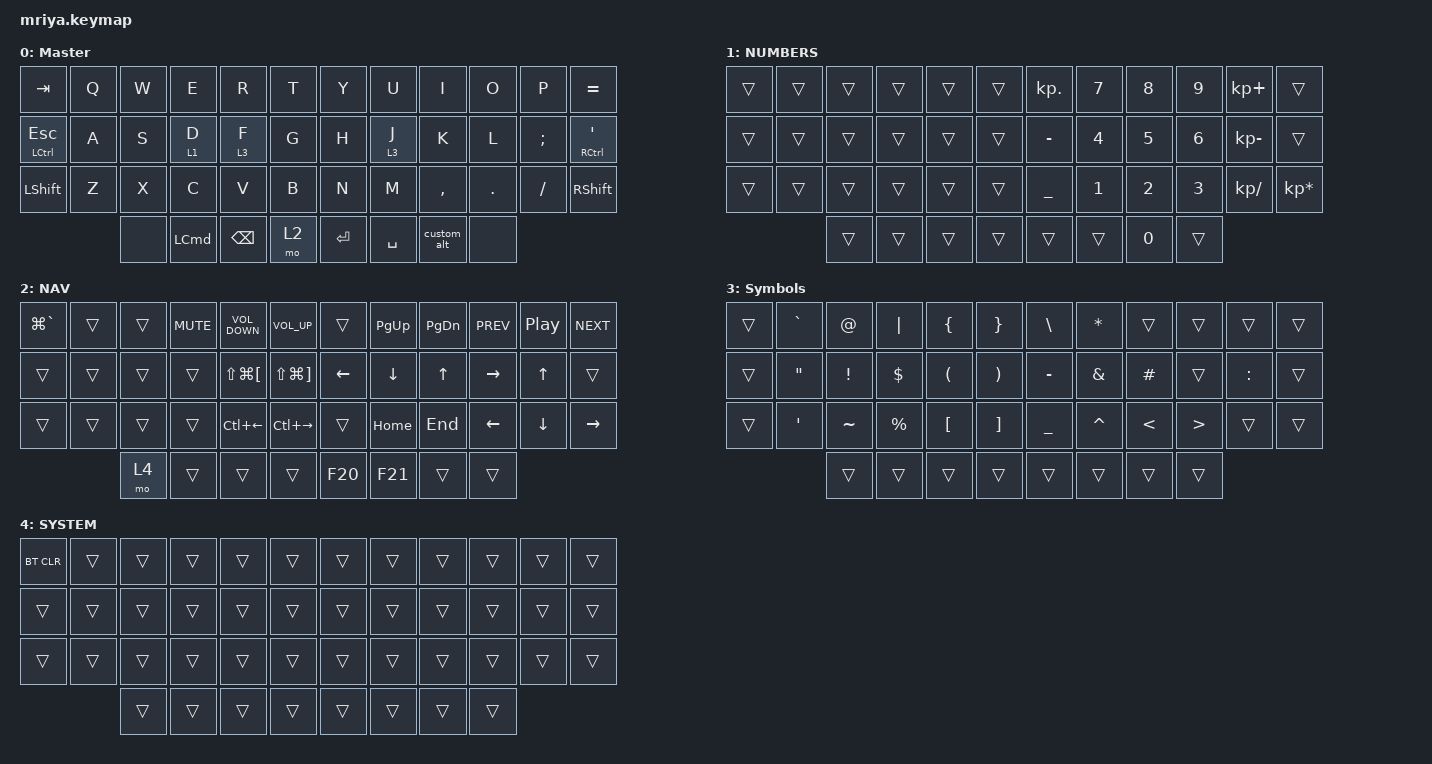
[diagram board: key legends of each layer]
/*
 * Copyright (c) 2023 Andrei Gaevskii
 *
 * SPDX-License-Identifier: MIT
 */

#include <behaviors.dtsi>
#include <dt-bindings/zmk/bt.h>
#include <dt-bindings/zmk/keys.h>

#define DEF 0
#define LWR 1
#define RSE 2
#define ADJ 3

&lt {
    quick_tap_ms = <200>;
};

&mt {
    quick_tap_ms = <200>;
};

/ {
    behaviors {
        custom_alt: custom_alt {
            compatible = "zmk,behavior-tap-dance";
            label = "CUSTOM_ALT";
            #binding-cells = <0>;
            bindings =
                <&kp RIGHT_ALT>,
                <&kp LA(SPACE)>;
        };
    };

    keymap {
        compatible = "zmk,keymap";

        Master {
            bindings = <
  &kp TAB                  &kp Q  &kp W  &kp E             &kp R          &kp T    &kp Y      &kp U      &kp I        &kp O    &kp P     &kp EQUAL
  &mt LEFT_CONTROL ESCAPE  &kp A  &kp S  &lt 1 D           &lt 3 F        &kp G    &kp H      &lt 3 J    &kp K        &kp L    &kp SEMI  &mt RCTRL SQT
  &kp LSHIFT               &kp Z  &kp X  &kp C             &kp V          &kp B    &kp N      &kp M      &kp COMMA    &kp DOT  &kp FSLH  &kp RIGHT_SHIFT
                                  &none  &kp LEFT_COMMAND  &kp BACKSPACE  &mo 2    &kp ENTER  &kp SPACE  &custom_alt  &none
            >;
        };

        NUMBERS {
            bindings = <
  &trans  &trans  &trans  &trans  &trans  &trans    &kp KP_DOT      &kp N7  &kp N8  &kp N9  &kp KP_PLUS   &trans
  &trans  &trans  &trans  &trans  &trans  &trans    &kp MINUS       &kp N4  &kp N5  &kp N6  &kp KP_MINUS  &trans
  &trans  &trans  &trans  &trans  &trans  &trans    &kp UNDERSCORE  &kp N1  &kp N2  &kp N3  &kp KP_SLASH  &kp KP_MULTIPLY
                  &trans  &trans  &trans  &trans    &trans          &trans  &kp N0  &trans
            >;
        };

        NAV {
            bindings = <
  &kp LG(GRAVE)  &trans  &trans  &kp K_MUTE  &kp C_VOLUME_DOWN         &kp C_VOLUME_UP              &trans    &kp PAGE_UP  &kp PAGE_DOWN  &kp C_PREV  &kp C_PLAY_PAUSE  &kp C_NEXT
  &trans         &trans  &trans  &trans      &kp LS(LG(LEFT_BRACKET))  &kp LS(LG(RIGHT_BRACKET))    &kp LEFT  &kp DOWN     &kp UP         &kp RIGHT   &kp UP            &trans
  &trans         &trans  &trans  &trans      &kp LC(LEFT)              &kp LC(RIGHT)                &trans    &kp HOME     &kp END        &kp LEFT    &kp DOWN          &kp RIGHT
                         &mo 4   &trans      &trans                    &trans                       &kp F20   &kp F21      &trans         &trans
            >;
        };

        Symbols {
            bindings = <
  &trans  &kp GRAVE          &kp AT_SIGN      &kp PIPE     &kp LEFT_BRACE        &kp RIGHT_BRACE          &kp BACKSLASH   &kp ASTERISK   &trans         &trans            &trans     &trans
  &trans  &kp DOUBLE_QUOTES  &kp EXCLAMATION  &kp DOLLAR   &kp LEFT_PARENTHESIS  &kp RIGHT_PARENTHESIS    &kp MINUS       &kp AMPERSAND  &kp HASH       &trans            &kp COLON  &trans
  &trans  &kp SINGLE_QUOTE   &kp TILDE        &kp PERCENT  &kp LEFT_BRACKET      &kp RIGHT_BRACKET        &kp UNDERSCORE  &kp CARET      &kp LESS_THAN  &kp GREATER_THAN  &trans     &trans
                             &trans           &trans       &trans                &trans                   &trans          &trans         &trans         &trans
            >;
        };

        SYSTEM {
            bindings = <
  &bt BT_CLR  &trans  &trans  &trans  &trans  &trans    &trans  &trans  &trans  &trans  &trans  &trans
  &trans      &trans  &trans  &trans  &trans  &trans    &trans  &trans  &trans  &trans  &trans  &trans
  &trans      &trans  &trans  &trans  &trans  &trans    &trans  &trans  &trans  &trans  &trans  &trans
                      &trans  &trans  &trans  &trans    &trans  &trans  &trans  &trans
            >;
        };
    };
};
